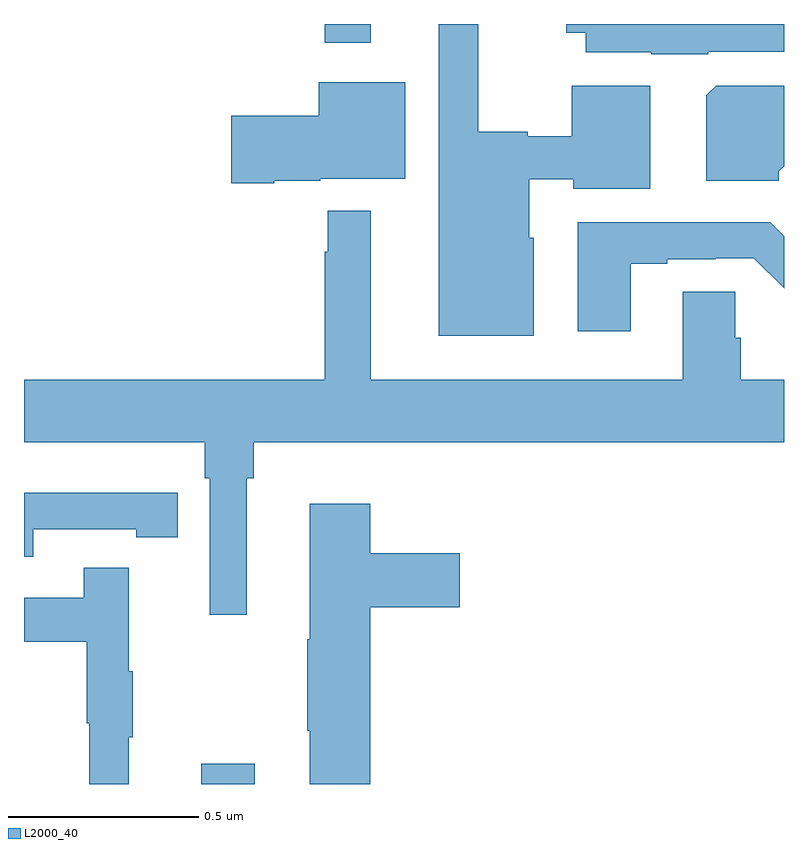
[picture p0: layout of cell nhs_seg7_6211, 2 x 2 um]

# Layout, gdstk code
import gdstk
lib = gdstk.Library(unit=1e-6, precision=1e-09)
def R(c, l, rs):  # rectangles x0, y0, x1, y1
    for r in rs: c.add(gdstk.rectangle(r[:2], r[2:], *l))
def P(c, l, *ps):  # polygons
    for p in ps: c.add(gdstk.Polygon(p, *l))
L2000_40 = (2000, 40)

nhs_seg7_6211 = lib.new_cell('nhs_seg7_6211')
R(nhs_seg7_6211, L2000_40, [(195.467,1049,195.607,1049.053), (195.792,1050.951,195.913,1051)])
P(nhs_seg7_6211, L2000_40, [(196.342,1050.438),(196.33,1050.438),(196.33,1050.591),(196.446,1050.591),(196.446,1050.566),(196.648,1050.566),(196.648,1050.838),(196.442,1050.838),(196.442,1050.705),(196.326,1050.705),(196.326,1050.716),(196.195,1050.716),(196.195,1051),(196.091,1051),(196.091,1050.179),(196.342,1050.179)],
  [(196.8,1050.927),(197,1050.927),(197,1051),(196.427,1051),(196.427,1050.977),(196.478,1050.977),(196.478,1050.926),(196.65,1050.926),(196.65,1050.92),(196.8,1050.92)],
  [(195.658,1050.587),(195.78,1050.587),(195.78,1050.593),(196.003,1050.593),(196.003,1050.847),(195.776,1050.847),(195.776,1050.759),(195.546,1050.759),(195.546,1050.581),(195.658,1050.581)],
  [(196.986,1050.612),(197,1050.626),(197,1050.838),(196.822,1050.838),(196.796,1050.812),(196.796,1050.587),(196.986,1050.587)],
  [(196.597,1050.369),(196.693,1050.369),(196.693,1050.381),(196.82,1050.381),(196.82,1050.384),(196.92,1050.384),(197,1050.305),(197,1050.442),(196.964,1050.478),(196.457,1050.478),(196.457,1050.192),(196.597,1050.192)],
  [(196.872,1050.174),(196.872,1050.296),(196.733,1050.296),(196.733,1050.064),(195.913,1050.064),(195.913,1050.508),(195.799,1050.508),(195.799,1050.401),(195.792,1050.401),(195.792,1050.064),(195,1050.064),(195,1049.9),(195.476,1049.9),(195.476,1049.804),(195.489,1049.804),(195.489,1049.445),(195.586,1049.445),(195.586,1049.804),(195.605,1049.804),(195.605,1049.9),(197,1049.9),(197,1050.064),(196.886,1050.064),(196.886,1050.174)],
  [(195.024,1049.67),(195.296,1049.67),(195.296,1049.65),(195.404,1049.65),(195.404,1049.766),(195.296,1049.766),(195.296,1049.767),(195,1049.767),(195,1049.598),(195.024,1049.598)],
  [(195.911,1049.465),(196.147,1049.465),(196.147,1049.607),(195.911,1049.607),(195.911,1049.737),(195.752,1049.737),(195.752,1049.381),(195.745,1049.381),(195.745,1049.14),(195.752,1049.14),(195.752,1049),(195.911,1049)],
  [(195.275,1049.123),(195.286,1049.123),(195.286,1049.297),(195.275,1049.297),(195.275,1049.569),(195.157,1049.569),(195.157,1049.49),(195,1049.49),(195,1049.374),(195.165,1049.374),(195.165,1049.16),(195.172,1049.16),(195.172,1049),(195.275,1049)])

lib.write_gds('nhs_seg7_6211.gds')
